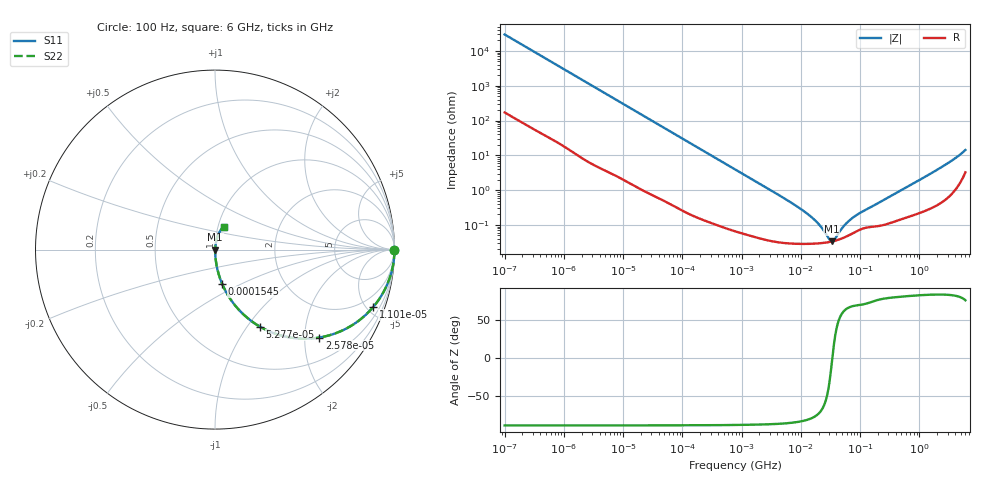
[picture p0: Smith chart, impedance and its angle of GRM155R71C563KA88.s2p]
!Murata Part Number: GRM155R71C563KA88
!These Parameters are Measured in Series Mode Connection
!Data Generated on Mar 30, 2021
!  o--ll--o
!Port1  Port2
!  o------o
!Operation Temp=25[degC], DC Bias Voltage=0[V]
!Freq. Start=100[Hz] Stop=6[GHz] 401[Steps]
# Hz S RI R 50
!Freq.(Hz) S11(Real) S11(Imag) S21(Real) S21(Imag) S12(Real) S12(Imag) S22(Real) S22(Imag)
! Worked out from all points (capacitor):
!   401 points, 100 Hz to 6 GHz, reference 50 ohm
!   read as one part in series: C = 53.4 nF near 109 Hz
!   lowest |Z| = 33.7 mohm at 33.3 MHz (marker M1)
!   series resonance near 34.04 MHz, so ESL is about 410 pH
!   S11 on the Smith chart (normalised r, x): 100 Hz: open; 11.01 kHz: 1.04, -5.50; 25.78 kHz: 1.02, -2.36; 52.77 kHz: 1.01, -1.16; 154.5 kHz: 1.00, -0.40; 6 GHz: 1.06, +0.28
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100  1 -0.00336  3.06e-05 0.00336  3.06e-05 0.00336  1 -0.00336
2008  0.9952 -0.0664  0.0048 0.0664  0.0048 0.0664  0.9952 -0.0664
4918  0.9732 -0.1585  0.0268 0.1585  0.0268 0.1585  0.9732 -0.1585
11009  0.8816 -0.3198  0.1184 0.3198  0.1184 0.3198  0.8816 -0.3198
16473  0.7706 -0.4171  0.2294 0.4171  0.2294 0.4171  0.7706 -0.4171
25777  0.5808 -0.4899  0.4192 0.4899  0.4192 0.4899  0.5808 -0.4899
40335  0.3639 -0.4773  0.6361 0.4773  0.6361 0.4773  0.3639 -0.4773
52766  0.2519 -0.4301  0.7481 0.4301  0.7481 0.4301  0.2519 -0.4301
86348  0.1133 -0.3129  0.8867 0.3129  0.8867 0.3129  0.1133 -0.3129
154540  0.0394 -0.1901  0.9606 0.1901  0.9606 0.1901  0.0394 -0.1901
774597  0.00224 -0.0398  0.9978 0.0398  0.9978 0.0398  0.00224 -0.0398
6353432  0.000317 -0.00475  0.9997 0.00475  0.9997 0.00475  0.000317 -0.00475
1.555665e7  0.000291 -0.00159  0.9997 0.00159  0.9997 0.00159  0.000291 -0.00159
2.035112e7  0.000298 -0.000985  0.9997 0.000985  0.9997 0.000985  0.000298 -0.000985
3.045065e7  0.000325 -0.000203  0.9997 0.000203  0.9997 0.000203  0.000325 -0.000203
3.330331e7  0.000335 -3.93e-05  0.9997 3.93e-05  0.9997 3.93e-05  0.000335 -3.93e-05
3.64232e7  0.000347 0.000123  0.9997 -0.000123  0.9997 -0.000123  0.000347 0.000123
5.211241e7  0.000425 0.000784  0.9996 -0.000784  0.9996 -0.000784  0.000425 0.000784
7.455971e7  0.000572 0.00149  0.9994 -0.00149  0.9994 -0.00149  0.000572 0.00149
3.124326e8  0.00115 0.00638  0.9988 -0.00638  0.9988 -0.00638  0.00115 0.00638
2.142435e9  0.00559 0.0407  0.9944 -0.0407  0.9944 -0.0407  0.00559 0.0407
6e9  0.0487 0.1281  0.9513 -0.1281  0.9513 -0.1281  0.0487 0.1281
